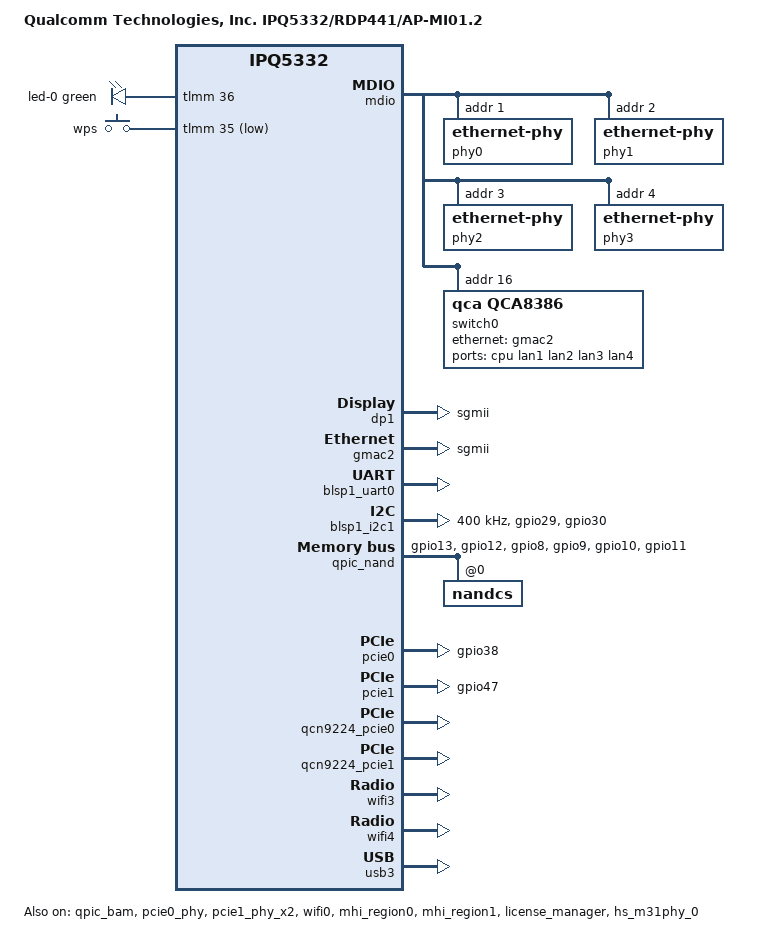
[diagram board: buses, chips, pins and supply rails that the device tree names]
// SPDX-License-Identifier: BSD-3-Clause
/*
 * IPQ5332 AP-MI01.2 board device tree source
 *
 * Copyright (c) 2022-2024 Qualcomm Innovation Center, Inc. All rights reserved.
 */

/dts-v1/;

#include <dt-bindings/gpio/gpio.h>
#include <dt-bindings/input/input.h>
#include <dt-bindings/leds/common.h>
#include "ipq5332.dtsi"
#include "ipq5332-default-memory.dtsi"

/ {
	model = "Qualcomm Technologies, Inc. IPQ5332/RDP441/AP-MI01.2";
	compatible = "qcom,ipq5332-ap-mi01.2", "qcom,ipq5332-rdp441", "qcom,ipq5332";

	aliases {
		serial0 = &blsp1_uart0;
		serial1 = &blsp1_uart1;
		ethernet0 = "/soc/dp1";
		ethernet1 = "/soc/dp2";
	};

	chosen {
		stdout-path = "serial0";
	};

	soc@0 {
		mdio:mdio@90000 {
			pinctrl-0 = <&mdio1_pins &mdio0_pins>;
			pinctrl-names = "default";
			/*gpio51 for manhattan reset*/
			phy-reset-gpio = <&tlmm 51 GPIO_ACTIVE_LOW>;
			phyaddr_fixup = <0xC90F018>;
			uniphyaddr_fixup = <0xC90F014>;
			mdio_clk_fixup; /* MDIO clock sequence fix up flag */
			status = "okay";

			phy0: ethernet-phy@0 {
				reg = <1>;
				fixup;
			};
			phy1: ethernet-phy@1 {
				reg = <2>;
				fixup;
			};
			phy2: ethernet-phy@2 {
				reg = <3>;
				fixup;
			};
			phy3: ethernet-phy@3 {
				reg = <4>;
				fixup;
			};

			switch0@10 {
				compatible = "qca,qca8386";
				#address-cells = <1>;
				#size-cells = <0>;
				reg = <0x10>;

				ports {
					#address-cells = <1>;
					#size-cells = <0>;

					port@0 {
						reg = <0>;
						label = "cpu";
						ethernet = <&gmac2>;
						dsa-tag-protocol = "qca_4b";
					};

					port@1 {
						reg = <1>;
						label = "lan1";
						phy-handle = <&phy0>;
						phy-mode = "usxgmii";
					};

					port@2 {
						reg = <2>;
						label = "lan2";
						phy-handle = <&phy1>;
						phy-mode = "usxgmii";
					};

					port@3 {
						reg = <3>;
						label = "lan3";
						phy-handle = <&phy2>;
						phy-mode = "usxgmii";
					};

					port@4 {
						reg = <4>;
						label = "lan4";
						phy-handle = <&phy3>;
						phy-mode = "usxgmii";
					};
				};
			};
		};

		leds {
			compatible = "gpio-leds";
			pinctrl-0 = <&gpio_leds_default>;
			pinctrl-names = "default";

			led-0 {
				color = <LED_COLOR_ID_GREEN>;
				function = LED_FUNCTION_WLAN;
				gpios = <&tlmm 36 GPIO_ACTIVE_HIGH>;
				linux,default-trigger = "phy0tx";
				default-state = "off";
			};
		};

		gpio_keys {
			compatible = "gpio-keys";
			pinctrl-0 = <&button_pins>;
			pinctrl-names = "default";
			status = "okay";

			button@1 {
				label = "wps";
				linux,code = <KEY_WPS_BUTTON>;
				gpios = <&tlmm 35 GPIO_ACTIVE_LOW>;
				linux,input-type = <1>;
				debounce-interval = <60>;
			};
		};

		ess-instance {
			num_devices = <0x2>;

			ess-switch@3a000000 {
				pinctrl-0 = <&sfp_pins>;
				pinctrl-names = "default";
				switch_cpu_bmp = <0x1>;  /* cpu port bitmap */
				switch_lan_bmp = <0x2>; /* lan port bitmap */
				switch_wan_bmp = <0x4>; /* wan port bitmap */
				switch_mac_mode = <0xc>; /* mac mode for uniphy instance0*/
				switch_mac_mode1 = <0xe>; /* mac mode for uniphy instance1*/
				switch_mac_mode2 = <0xff>; /* mac mode for uniphy instance2*/

				qcom,port_phyinfo {
					port@0 {
						port_id = <1>;
						forced-speed = <2500>;
						forced-duplex = <1>;
					};
					port@1 {
						port_id = <2>;
						phy_address = <30>;
						media-type = "sfp"; /* fiber mode */
					};
				};
			};

			ess-switch1@1 {
				compatible = "qcom,ess-switch-qca8386";
				device_id = <1>;
				switch_access_mode = "mdio";
				mdio-bus = <&mdio>;
				switch_mac_mode = <0xc>; /* mac mode for uniphy instance0 */
				switch_mac_mode1 = <0xff>; /* mac mode1 for uniphy instance1 */
				switch_cpu_bmp = <0x1>;  /* cpu port bitmap */
				switch_lan_bmp = <0x1e>; /* lan port bitmap */
				switch_wan_bmp = <0x0>;  /* wan port bitmap */
				link-polling-required = <0>;
				fdb_sync = "interrupt";
				link-intr-gpio = <&tlmm 23 GPIO_ACTIVE_HIGH>;

				qcom,port_phyinfo {
					port@0 {
						port_id = <0>;
						forced-speed = <2500>;
						forced-duplex = <1>;
					};
					port@1 {
						port_id = <1>;
						phy_address = <1>;
					};
					port@2 {
						port_id = <2>;
						phy_address = <2>;
					};
					port@3 {
						port_id = <3>;
						phy_address = <3>;
					};
					port@4 {
						port_id = <4>;
						phy_address = <4>;
					};
				};

				led_source@2 {
					source = <2>;
					mode = "normal";
					speed = "all";
					blink_en = "enable";
					active = "high";
				};
				led_source@5 {
					source = <5>;
					mode = "normal";
					speed = "all";
					blink_en = "enable";
					active = "high";
				};
				led_source@8 {
					source = <8>;
					mode = "normal";
					speed = "all";
					blink_en = "enable";
					active = "high";
				};
				led_source@11 {
					source = <11>;
					mode = "normal";
					speed = "all";
					blink_en = "enable";
					active = "high";
				};
			};
		};

		dp1 {
			device_type = "network";
			compatible = "qcom,nss-dp";
			qcom,id = <2>;
			reg = <0x3a504000 0x4000>;
			qcom,mactype = <1>;
			local-mac-address = [000000000000];
			mdio-bus = <&mdio>;
			qcom,phy-mdio-addr = <30>;
			qcom,link-poll = <1>;
			phy-mode = "sgmii";
		};

		gmac2:dp2 {
			device_type = "network";
			compatible = "qcom,nss-dp";
			qcom,id = <1>;
			reg = <0x3a500000 0x4000>;
			qcom,mactype = <1>;
			local-mac-address = [000000000000];
			phy-mode = "sgmii";
			qcom,mht-dev = <1>;
			qcom,is_switch_connected = <1>;
			qcom,ppe-offload-disabled = <1>;
		};

		/* EDMA host driver configuration for the board */
		edma@3ab00000 {
			qcom,txdesc-ring-start = <4>;		/* Tx desc ring start ID */
			qcom,txdesc-rings = <12>;		/* Total number of Tx desc rings to be provisioned */
			qcom,mht-txdesc-rings = <8>;            /* Extra Tx desc rings to be provisioned for MHT SW ports */
			qcom,txcmpl-ring-start = <4>;		/* Tx complete ring start ID */
			qcom,txcmpl-rings = <12>;		/* Total number of Tx complete rings to be provisioned */
			qcom,mht-txcmpl-rings = <8>;            /* Extra Tx complete rings to be provisioned for mht sw ports. */
			qcom,rxfill-ring-start = <4>;		/* Rx fill ring start ID */
			qcom,rxfill-rings = <4>;		/* Total number of Rx fill rings to be provisioned */
			qcom,rxdesc-ring-start = <12>;		/* Rx desc ring start ID */
			qcom,rxdesc-rings = <4>;		/* Total number of Rx desc rings to be provisioned */
			qcom,rx-page-mode = <0>;		/* Rx fill ring page mode */
			qcom,tx-map-priority-level = <1>;	/* Tx priority level per port */
			qcom,rx-map-priority-level = <1>;	/* Rx priority level per core */
			qcom,ppeds-num = <2>;			/* Number of PPEDS nodes */
			/* PPE-DS node format: <Rx-fill Tx-cmpl Rx Tx Queue-base Queue-count> */
			qcom,ppeds-map = <1 1 1 1 32 8>,	/* PPEDS Node#0 ring and queue map */
					<2 2 2 2 40 8>;		/* PPEDS Node#1 ring and queue map */
			qcom,txdesc-map = <8 9 10 11>,		/* Port0 per-core Tx ring map */
					<12 13 14 15>,        /* MHT-Port1 per-core Tx ring map */
					<4 5 6 7>,            /* MHT-Port2 per-core Tx ring map/packets from  vp*/
					<16 17 18 19>,        /* MHT-Port3 per-core Tx ring map */
					<20 21 22 23>;        /* MHT-Port4 per-core Tx ring map */
			qcom,txdesc-fc-grp-map = <1 2 3 4 5>;   /* Per GMAC flow control group map */
			qcom,rxfill-map = <4 5 6 7>;		/* Per-core Rx fill ring map */
			qcom,rxdesc-map = <12 13 14 15>;	/* Per-core Rx desc ring map */
			qcom,rx-queue-start = <0>;		/* Rx queue start */
			qcom,rx-ring-queue-map = <0 8 16 24>,	/* Priority 0 queues per-core Rx ring map */
						<1 9 17 25>,	/* Priority 1 queues per-core Rx ring map */
						<2 10 18 26>,	/* Priority 2 queues per-core Rx ring map */
						<3 11 19 27>,	/* Priority 3 queues per-core Rx ring map */
						<4 12 20 28>,	/* Priority 4 queues per-core Rx ring map */
						<5 13 21 29>,	/* Priority 5 queues per-core Rx ring map */
						<6 14 22 30>,	/* Priority 6 queues per-core Rx ring map */
						<7 15 23 31>;	/* Priority 7 queues per-core Rx ring map */
			interrupts = <0 163 4>,			/* Tx complete ring id #4 IRQ info */
				   <0 164 4>,			/* Tx complete ring id #5 IRQ info */
				   <0 165 4>,			/* Tx complete ring id #6 IRQ info */
				   <0 166 4>,			/* Tx complete ring id #7 IRQ info */
				   <0 167 4>,			/* Tx complete ring id #8 IRQ info */
				   <0 168 4>,			/* Tx complete ring id #9 IRQ info */
				   <0 169 4>,			/* Tx complete ring id #10 IRQ info */
				   <0 170 4>,			/* Tx complete ring id #11 IRQ info */
				   <0 171 4>,			/* Tx complete ring id #12 IRQ info */
				   <0 172 4>,			/* Tx complete ring id #13 IRQ info */
				   <0 173 4>,			/* Tx complete ring id #14 IRQ info */
				   <0 174 4>,			/* Tx complete ring id #15 IRQ info */
				   <0 139 4>,			/* Rx desc ring id #12 IRQ info */
				   <0 140 4>,			/* Rx desc ring id #13 IRQ info */
				   <0 141 4>,			/* Rx desc ring id #14 IRQ info */
				   <0 142 4>,			/* Rx desc ring id #15 IRQ info */
				   <0 191 4>,			/* Misc error IRQ info */
				<0 160 4>,			/* PPEDS Node #1(TxComp ring id #1) TxComplete IRQ info */
				<0 128 4>,			/* PPEDS Node #1(Rx Desc ring id #1) Rx Desc IRQ info */
				<0 152 4>,			/* PPEDS Node #1(RxFill Desc ring id #1) Rx Fill IRQ info */
				<0 161 4>,			/* PPEDS Node #2(TxComp ring id #2) TxComplete IRQ info */
				<0 129 4>,			/* PPEDS Node #2(Rx Desc ring id #2) Rx Desc IRQ info */
				<0 153 4>,                      /* PPEDS Node #2(RxFill Desc ring id #2) Rx Fill IRQ info */
				<0 175 4>,                   /* MHT port Tx complete ring id #16 IRQ info */
				<0 176 4>,                   /* MHT port Tx complete ring id #17 IRQ info */
				<0 177 4>,                   /* MHT port Tx complete ring id #18 IRQ info */
				<0 178 4>,                   /* MHT port Tx complete ring id #19 IRQ info */
				<0 179 4>,                   /* MHT port Tx complete ring id #20 IRQ info */
				<0 180 4>,                   /* MHT port Tx complete ring id #21 IRQ info */
				<0 181 4>,                   /* MHT port Tx complete ring id #22 IRQ info */
				<0 182 4>;                   /* MHT port Tx complete ring id #23 IRQ info */
		};

		wsi: wsi {
			id = <0>;
			num_chip = <3>;
			status = "okay";
			chip_info = <0 2 1 2>,
				    <1 2 2 0>,
				    <2 2 0 1>;
		};
	};
};

&blsp1_uart0 {
	pinctrl-0 = <&serial_0_pins>;
	pinctrl-names = "default";
	status = "okay";
};

&sdhc {
	bus-width = <4>;
	max-frequency = <192000000>;
	mmc-ddr-1_8v;
	mmc-hs200-1_8v;
	non-removable;
	pinctrl-0 = <&sdc_default_state>;
	pinctrl-names = "default";
	status = "disabled";
};

&blsp1_uart1 {
	pinctrl-0 = <&serial_1_pins>;
	pinctrl-names = "default";
	status = "disabled";
};

&blsp1_i2c1 {
	clock-frequency  = <400000>;
	pinctrl-0 = <&i2c_1_pins>;
	pinctrl-names = "default";
	status = "okay";
};

&sleep_clk {
	clock-frequency = <32000>;
};

&xo {
	clock-frequency = <24000000>;
};

&qpic_bam {
	status = "okay";
};

&qpic_nand {
	pinctrl-0 = <&qspi_default_state>;
	pinctrl-names = "default";
	status = "okay";

	nandcs@0 {
		reg = <0>;
		#address-cells = <1>;
		#size-cells = <1>;

		nand-ecc-strength = <8>;
		nand-ecc-step-size = <512>;
		nand-bus-width = <8>;
	};
};

&pcie0_phy {
	status = "okay";
};

&pcie0 {
	pinctrl-0 = <&pcie0_default_state>;
	pinctrl-names = "default";
	perst-gpios = <&tlmm 38 GPIO_ACTIVE_LOW>;
	status = "okay";

	pcie0_rp {
		reg = <0 0 0 0 0>;

		qcom,mhi@2 {
			reg = <0 0 0 0 0>;
			boot-args = <0x2 0x4 0x34 0x3 0x0 0x0     /* MX Rail, GPIO52, Drive strength 0x3 */
					0x4 0x4 0x18 0x3 0x0 0x0  /* RFA1p2 Rail, GPIO24, Drive strength 0x3 */
					0x0 0x4 0x0 0x0 0x0 0x0>; /* End of arguments */
			memory-region = <&qcn9224_pcie0>, <&mhi_region0>;
			qcom,board_id = <0x15>;
			qcom,wsi = <&wsi>;
			qcom,wsi_index = <1>;
		};
	};
};

&pcie1_phy_x2 {
	status = "okay";
};

&pcie1 {
	pinctrl-0 = <&pcie1_default_state>;
	pinctrl-names = "default";
	perst-gpios = <&tlmm 47 GPIO_ACTIVE_LOW>;
	status = "okay";

	pcie1_rp {
		reg = <0 0 0 0 0>;

		qcom,mhi@1 {
			reg = <0 0 0 0 0>;
			boot-args = <0x2 0x4 0x34 0x3 0x0 0x0     /* MX Rail, GPIO52, Drive strength 0x3 */
					0x4 0x4 0x18 0x3 0x0 0x0  /* RFA1p2 Rail, GPIO24, Drive strength 0x3 */
					0x0 0x4 0x0 0x0 0x0 0x0>; /* End of arguments */
			memory-region = <&qcn9224_pcie1>, <&mhi_region1>;
			qcom,board_id = <0x16>;
			qcom,wsi = <&wsi>;
			qcom,wsi_index = <2>;
		};
	};
};


&wifi0 {
	led-gpio = <&tlmm 36 GPIO_ACTIVE_HIGH>;
	qcom,rproc = <&q6_wcss_pd1>;
	qcom,rproc_rpd = <&q6v5_wcss>;
	qcom,multipd_arch;
	qcom,userpd-subsys-name = "q6v5_wcss_userpd1";
	memory-region = <&q6_region>;
	qcom,wsi = <&wsi>;
	qcom,wsi_index = <0>;
	qcom,board_id = <0x12>;
	status = "okay";
};

&qcn9224_pcie0 {
	status = "okay";
};

&qcn9224_pcie1 {
	status = "okay";
};

#if defined(__MHI_BUS_RESERVED_DMA_POOL__)
&mhi_region0 {
	status = "okay";
};

&mhi_region1 {
	status = "okay";
};
#endif

&wifi3 {
	/* QCN9224 radio 5G */
	hremote_node = <&qcn9224_pcie0>;
	board_id = <0x15>;
	node_id = <0>;
	status = "okay";
};

&wifi4 {
	/* QCN9224 radio 6G */
	hremote_node = <&qcn9224_pcie1>;
	board_id = <0x16>;
	node_id = <1>;
	status = "okay";
};

/* PINCTRL */

&tlmm {
	sdc_default_state: sdc-default-state {
		clk-pins {
			pins = "gpio13";
			function = "sdc_clk";
			drive-strength = <8>;
			bias-disable;
		};

		cmd-pins {
			pins = "gpio12";
			function = "sdc_cmd";
			drive-strength = <8>;
			bias-pull-up;
		};

		data-pins {
			pins = "gpio8", "gpio9", "gpio10", "gpio11";
			function = "sdc_data";
			drive-strength = <8>;
			bias-pull-up;
		};
	};

	qspi_default_state: qspi-default-state {
		qspi_clock {
			pins = "gpio13";
			function = "qspi_clk";
			drive-strength = <8>;
			bias-pull-down;
		};

		qspi_cs {
			pins = "gpio12";
			function = "qspi_cs";
			drive-strength = <8>;
			bias-pull-up;
		};

		qspi_data {
			pins = "gpio8", "gpio9", "gpio10", "gpio11";
			function = "qspi_data";
			drive-strength = <8>;
			bias-pull-down;
		};
	};

	serial_1_pins: serial1-pinmux {
		pins = "gpio33", "gpio34", "gpio35", "gpio36";
		function = "blsp1_uart2";
		drive-strength = <8>;
		bias-pull-up;
	};

	i2c_1_pins: i2c-1-state {
		pins = "gpio29", "gpio30";
		function = "blsp1_i2c0";
		drive-strength = <8>;
		bias-pull-up;
	};

	gpio_leds_default: gpio-leds-default-state {
		pins = "gpio36";
		function = "gpio";
		drive-strength = <8>;
		bias-pull-down;
	};

	button_pins: button-state {
		pins = "gpio35";
		function = "gpio";
		drive-strength = <8>;
		bias-pull-up;
	};

	pcie0_default_state: pcie0-default-state {
		pins = "gpio38";
		function = "gpio";
		drive-strength = <8>;
		bias-pull-up;
		output-low;
	};

	pcie1_default_state: pcie1-default-state {
		pins = "gpio47";
		function = "gpio";
		drive-strength = <8>;
		bias-pull-up;
		output-low;
	};

	sfp_pins: sfp-state {
		sfp_rx {
			pins = "gpio45";
			function = "rx1";
			bias-disable;
		};
		sfp_tx {
			pins = "gpio24";
			function = "gpio";
			drive-strength = <8>;
			bias-pull-down;
			output-low;
		};
	};

};

&license_manager {
	status = "okay";
};

&usb3 {
	qcom,select-utmi-as-pipe-clk;
	status = "okay";

	dwc3@8a00000 {
		/delete-property/ #phy-cells;
		/delete-property/ phys;
		/delete-property/ phy-names;
	};
};

&hs_m31phy_0 {
	status = "okay";
};
